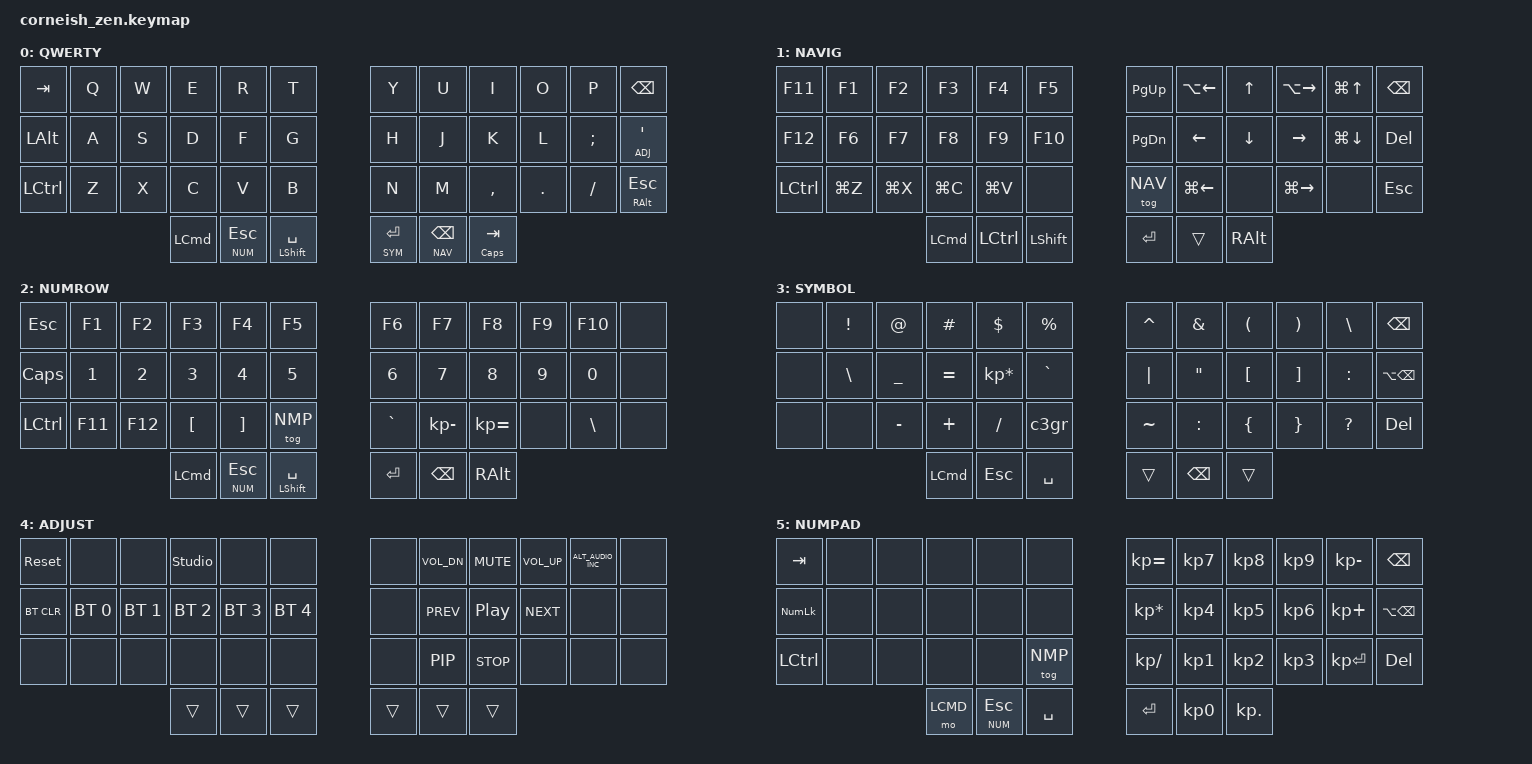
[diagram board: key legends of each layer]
#include <behaviors.dtsi>
#include <dt-bindings/zmk/keys.h>
#include <dt-bindings/zmk/bt.h>

#define QWE 0
#define NAV 1
#define NUM 2
#define SYM 3
#define ADJ 4
#define NMP 5


&mt {
    flavor = "tap-preferred";
    tapping-term-ms = <200>;
};

/ {
    chosen {
        zmk,physical-layout = &foostan_corne_6col_layout;
        // zmk,physical-layout = &foostan_corne_5col_layout;
    };
};

/ {

    macros {
                c3gr: combo_3_grave {
                        display-name = "Combo_3_GRAVE";
                        compatible = "zmk,behavior-macro";
                        #binding-cells = <0>;
                        bindings
                                = <&kp GRAVE &kp GRAVE &kp GRAVE>;
                };
                
                c3dqt: combo_3_dqt {
                        display-name = "Combo_3_DQT";
                        compatible = "zmk,behavior-macro";
                        #binding-cells = <0>;
                        bindings
                                = <&kp DQT &kp DQT &kp DQT>;
                };
        };

    keymap {
        compatible = "zmk,keymap";

                default_layer {
                        display-name = "QWERTY";
// ----------------------------------------------------------------------------------------------------------
// |  TAB  |   Q   |   W   |   E   |   R   |   T   | ------- |   Y   |   U   |   I   |   O   |   P   |  BSPC   |
// |  ALT  |   A   |   S   |   D   |   F   |   G   | ------- |   H   |   J   |   K   |   L   |   ;   | ^ADJ/'  |
// |  CTRL |   Z   |   X   |   C   |   V   |   B   | ------- |   N   |   M   |   ,   |   .   |   /   | ALT/ESC |
//                      |  CMD | ^NUM/ESC | SHIFT/SPC | - | ^SYM/ENT | ^NAV/BSPC  | HYPER |
                        bindings = <
 &kp TAB     &kp Q    &kp W    &kp E    &kp R    &kp T        &kp Y    &kp U     &kp I        &kp O      &kp P        &kp BSPC
 &kp LALT    &kp A    &kp S    &kp D    &kp F    &kp G        &kp H    &kp J     &kp K        &kp L      &kp SEMI     &lt ADJ SQT
 &kp LCTRL   &kp Z    &kp X    &kp C    &kp V    &kp B        &kp N    &kp M     &kp COMMA    &kp DOT    &kp FSLH     &mt RALT ESC
                    &kp LCMD &lt NUM ESC &mt LSHIFT SPACE     &lt SYM RET &lt NAV BSPC &mt CAPS TAB
                           >;
                   };
// HYPER is implemented as combination of ALL RIGHT MODIFIERS: ⌘⌥⌃⇧
// Configured via https://github.com/Vonng/Capslock
// Supported by Karabiner-Elements

                navigation_layer {
                        display-name = "NAVIG";
// ---------------------------------------------------------------------------------------------------------------
// |  F11  |  F1   |  F2   |  F3   |  F4   |  F5   | ------- |  PG_UP | LA(LEFT)  |  UP   | LA(RIGHT)  |  HOME  |  BSPC  |
// |  F12  |  F6   |  F7   |  F8   |  F9   |  F10  | ------- |  PG_DN |   LEFT    | DOWN  |   RIGHT    |  END   |   DEL  |
// | CTRL  | CMD(Z)| CMD(X)| CMD(C)| CMD(V)|       | ------- |  !NAV  | CMD(LEFT) |       | CMD(RIGHT) |        |   ESC  |
//                           | LCMD | CTRL |  SHIFT   | - |  ENT  |  ^^^  |   ALT   |
                        bindings = <
   &kp F11   &kp F1   &kp F2   &kp F3    &kp F4    &kp F5        &kp PG_UP  &kp LA(LEFT)  &kp UP   &kp LA(RIGHT) &kp LG(UP)   &kp BSPC
   &kp F12   &kp F6   &kp F7   &kp F8    &kp F9    &kp F10       &kp PG_DN  &kp LEFT      &kp DOWN &kp RIGHT     &kp LG(DOWN) &kp DEL
   &kp LCTRL &kp LG(Z) &kp LG(X) &kp LG(C)  &kp LG(V) &none      &tog NAV   &kp LG(LEFT)  &none    &kp LG(RIGHT) &none        &kp ESC  
                         &kp LCMD &kp LCTRL &kp LSHIFT           &kp RET   &trans   &kp RALT
                        >;
                };


                lower_layer {
                        display-name = "NUMROW";
// ---------------------------------------------------------------------------------------------------------
// |  ESC   |  F1   |  F2   |  F3   |  F4   |   F5    | ------- |  F6   |  F7   |  F8   |  F9   |  F10  |       |
// |  CAPS  |   1   |   2   |   3   |   4   |    5    | ------- |   6   |   7   |   8   |   9   |   0   |       |
// |  CTRL  |  F11  |  F12  |   [   |   ]   | !NUMPAD | ------- |   `   |   -   |   =   |   \   |       |       |
//                               |  CMD  |  ^^^  |  SPC  | - |  ENT  |  BSPC  | ALT |

// ++SHIFT
// ---------------------------------------------------------------------------------------------------------
// |  ESC   |  F1   |  F2   |  F3   |  F4   |   F5    | ------- |  F6   |  F7   |  F8   |  F9   |  F10  |       |
// |  CAPS  |   !   |   @   |   #   |   $   |    %    | ------- |   ^   |   &   |   *   |   (   |   )   |       |
// |  CTRL  |  F11  |  F12  |   {   |   }   | !NUMPAD | ------- |   ~   |   -   |   =   |   \   |       |       |
//                               |  CMD  |  ^^^  |  ^^^  | - |  ENT  |  BSPC  | ALT |


                        bindings = <
   &kp ESC     &kp F1   &kp F2    &kp F3    &kp F4    &kp F5        &kp F6       &kp F7       &kp F8    &kp F9    &kp F10   &none
   &kp CAPS    &kp N1   &kp N2    &kp N3    &kp N4    &kp N5        &kp N6       &kp N7       &kp N8    &kp N9    &kp N0    &none
   &kp LCTRL   &kp F11  &kp F12   &kp LBKT  &kp RBKT  &tog NMP      &kp GRAVE    &kp KP_MINUS &kp KP_EQUAL &none  &kp BSLH  &none
               	           &kp LCMD &lt NUM ESC &mt LSHIFT SPACE   &kp RET &kp BSPC &kp RALT
                        >;
                };

                raise_layer {
                        display-name = "SYMBOL";
// ---------------------------------------------------------------------------------------------------------
// |       |   !   |   @   |   #   |   $   |   %   | ------- |   ^   |   &   |   (   |   )   |  \uaʼ |   BSPC    |
// |       |   \   |   _   |   =   |   *   |   `   | ------- |  "|"  |   "   |   [   |   ]   |   :   |  LA(BSPC) |
// |       |       |   -   |   +   |   /   |       | ------- |   ~   |   :   |   {   |   }   |   ?   |   DEL     |
//                                 |  CMD | ESC | SPC | - |  ^^^  |  BSPC  |     |
                        bindings = <
   &none  &kp EXCL &kp AT    &kp HASH  &kp DLLR        &kp PRCNT    &kp CARET &kp AMPS  &kp LPAR &kp RPAR  &kp BSLH  &kp BSPC
   &none  &kp BSLH &kp UNDER &kp EQUAL &kp KP_MULTIPLY &kp GRAVE    &kp PIPE  &kp DQT   &kp LBKT &kp RBKT  &kp COLON &kp LA(BSPC)
   &none  &none    &kp MINUS &kp PLUS  &kp SLASH       &c3gr        &kp TILDE &kp COLON &kp LBRC &kp RBRC  &kp QMARK &kp DEL
                             &kp LCMD &kp ESC &kp SPACE   &trans  &kp BSPC  &trans
                        >;
                };

                config_layer {
                        display-name = "ADJUST";  //+MEDIA
// -----------------------------------------------------------------------------------------------------------
// |       |       |       |       |       |       | ------- |        | VOL_DN |  MUTE  | VOL_UP | C_ALT_AUDIO_INC |       |
// |BT_CLR |  BT1  |  BT2  |  BT3  |  BT4  |  BT5  | ------- |        |  PREV  |  P/P   |  NEXT  |                 |       |
// |       |       |       |       |       |       | ------- |        |  C_PIP |  STOP  |        |                 |       |
//                            |       |       |       | - |       |       |       |
                        bindings = <
   &sys_reset &none        &none        &studio_unlock  &none         &none          &none   &kp C_VOL_DN &kp C_MUTE &kp C_VOL_UP &kp C_ALT_AUDIO_INC   &none
   &bt BT_CLR &bt BT_SEL 0 &bt BT_SEL 1 &bt BT_SEL 2    &bt BT_SEL 3  &bt BT_SEL 4   &none   &kp C_PREV   &kp C_PP   &kp C_NEXT   &none                 &none
   &none      &none        &none        &none           &none         &none          &none   &kp C_PIP    &kp C_STOP &none        &none                 &none
                          	                    &trans  &trans        &trans         &trans  &trans &trans
                        >;
                };

                numpad_layer {
                        display-name = "NUMPAD";
// -----------------------------------------------------------------------------------------------------------
// |  TAB    |       |       |       |       |         | ------- |   =   |   7   |   8   |   9   |   -   |  BSPC    |
// | NUMLOCK |       |       |       |       |         | ------- |   *   |   4   |   5   |   6   |   +   | LA(BSPC) |
// |  CTRL   |       |       |       |       | !NUMPAD | ------- |   /   |   1   |   2   |   3   |  ENT  |   DEL    |
//                               | LCMD | ^NUM/ESC |  SPC | - |  ENT  |   0   |   .   |
                        bindings = <
   &kp TAB     &none   &none   &none   &none   &none       &kp KP_EQUAL    &kp KP_N7 &kp KP_N8 &kp KP_N9 &kp KP_MINUS &kp BSPC
   &kp KP_NLCK &none   &none   &none   &none   &none       &kp KP_ASTERISK &kp KP_N4 &kp KP_N5 &kp KP_N6 &kp KP_PLUS  &kp LA(BSPC)
   &kp LCTRL   &none   &none   &none   &none   &tog NMP    &kp KP_SLASH    &kp KP_N1 &kp KP_N2 &kp KP_N3 &kp KP_ENTER &kp DEL
                             &mo LCMD &lt NUM ESC &kp SPC  &kp RET  &kp KP_N0 &kp KP_DOT
                        >;
                };
// end of keymap block

    };
};
